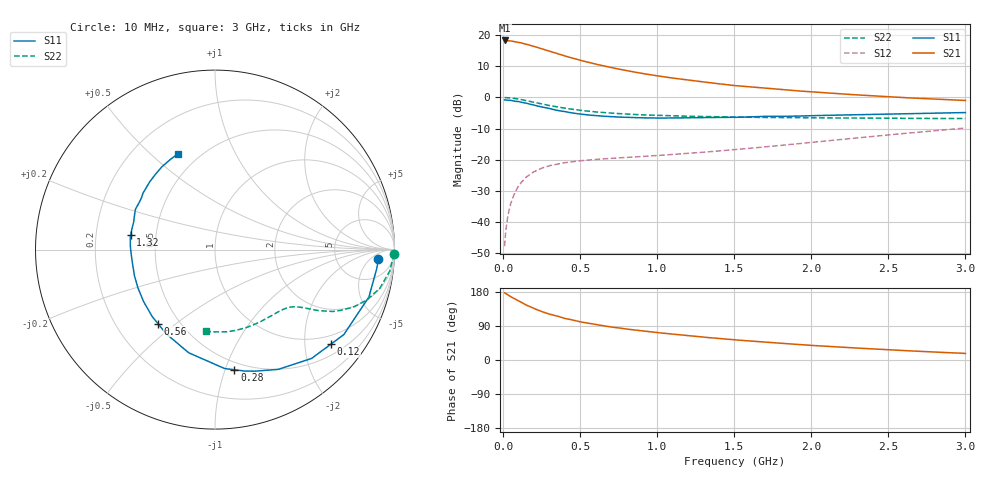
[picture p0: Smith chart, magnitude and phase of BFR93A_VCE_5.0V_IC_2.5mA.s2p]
! Infineon Technologies  Discrete & RF Semiconductors
! BFR93A
! VCE =  5.0 V,  IC =  2.5 mA
! Common Emitter S-Parameters:  Nov 2015
# GHz  S  MA  R  50
!  f  S11  S21  S12  S22
! GHz  MAG  ANG  MAG  ANG  MAG  ANG  MAG  ANG
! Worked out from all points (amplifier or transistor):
!   180 points, 10 MHz to 3 GHz, reference 50 ohm
!   highest |S21| = 18.3 dB at 10 MHz (marker M1)
!   |S21| within 3 dB of that: start of sweep to 272.3 MHz
!   unconditionally stable (mu >= 1): 936.3 MHz to 2.557 GHz
!   at 160 MHz: K = 0.22, MSG = 21.1 dB, |S12| = -25.2 dB
!   at 1.22 GHz: K = 1.12, MAG = 9.6 dB, |S12| = -17.9 dB
!   at 3 GHz: K = 0.92, MSG = 4.4 dB, |S12| = -9.8 dB
!   S11 on the Smith chart (normalised r, x): 10 MHz: 15, -10; 120 MHz: 0.76, -2.62; 280 MHz: 0.43, -1.08; 560 MHz: 0.38, -0.43; 1.32 GHz: 0.36, +0.07; 3 GHz: 0.39, +0.61
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0.01  0.9118 -3.4  8.204 177.3  0.0041 88.0  0.9949 -1.4
0.025  0.9035 -8.5  8.164 173.5  0.01 83.7  0.99 -3.5
0.045  0.8969 -15.4  8.077 168.4  0.0178 81.0  0.9824 -6.3
0.1  0.86 -33.4  7.687 155.9  0.0378 72.0  0.9433 -13.2
0.12  0.8335 -39.2  7.441 151.7  0.0436 68.3  0.9216 -15.2
0.15  0.8108 -48.4  7.153 145.0  0.0525 64.3  0.8913 -18.4
0.2  0.755 -62.1  6.599 135.9  0.0641 58.6  0.8385 -22.3
0.24  0.713 -71.8  6.146 129.5  0.0713 54.4  0.7969 -24.7
0.28  0.6781 -80.8  5.729 123.9  0.0772 51.3  0.7597 -26.7
0.3  0.6647 -85.4  5.532 121.2  0.0799 49.9  0.7419 -27.7
0.4  0.5932 -104.3  4.627 109.8  0.0895 45.2  0.6701 -30.5
0.5  0.5422 -120.0  3.944 100.8  0.0961 42.4  0.6203 -32.2
0.52  0.534 -122.5  3.836 99.5  0.0971 42.2  0.6132 -32.4
0.56  0.5207 -127.6  3.625 96.7  0.0992 41.8  0.5989 -33.0
0.62  0.5064 -135.1  3.339 92.4  0.102 41.4  0.5796 -33.8
0.74  0.4854 -147.7  2.883 85.1  0.1066 41.7  0.5519 -35.3
1.02  0.4663 -171.2  2.182 71.5  0.1177 44.7  0.5136 -39.5
1.32  0.4765 170.4  1.747 59.6  0.1332 49.2  0.4922 -45.4
1.52  0.4795 160.8  1.536 52.7  0.1466 52.2  0.4831 -50.0
2.02  0.511 141.0  1.218 38.1  0.1916 57.2  0.4704 -63.5
2.52  0.5412 125.3  1.02 26.7  0.2529 57.5  0.463 -79.0
3  0.5716 111.3  0.893 17.4  0.3227 54.1  0.4588 -96.6
